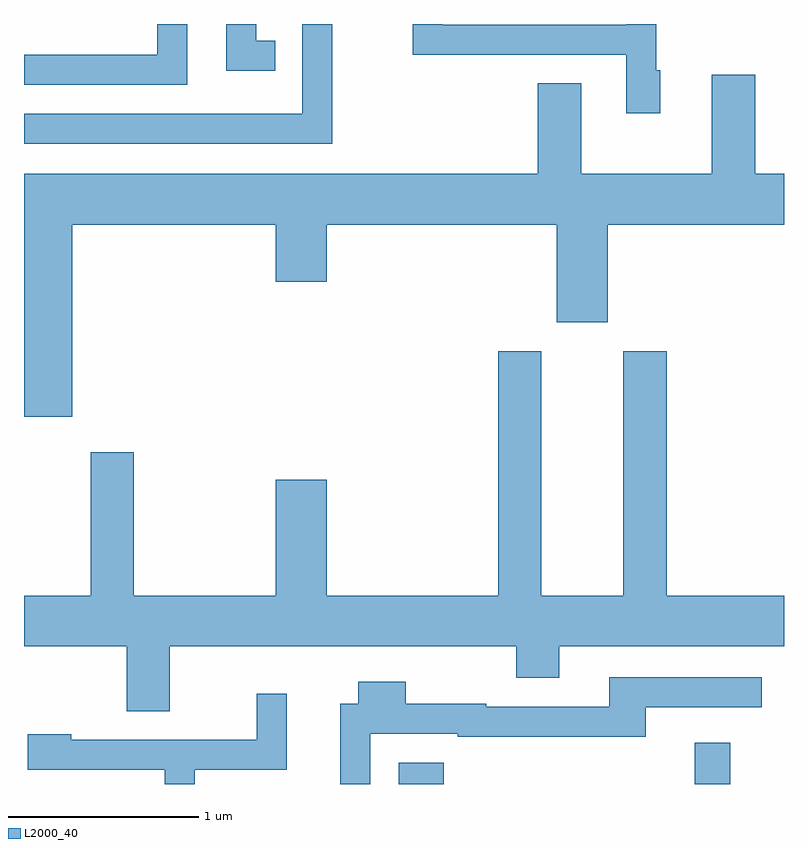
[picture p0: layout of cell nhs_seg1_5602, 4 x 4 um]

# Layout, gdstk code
import gdstk
lib = gdstk.Library(unit=1e-6, precision=1e-09)
def R(c, l, rs):  # rectangles x0, y0, x1, y1
    for r in rs: c.add(gdstk.rectangle(r[:2], r[2:], *l))
def P(c, l, *ps):  # polygons
    for p in ps: c.add(gdstk.Polygon(p, *l))
L2000_40 = (2000, 40)

nhs_seg1_5602 = lib.new_cell('nhs_seg1_5602')
R(nhs_seg1_5602, L2000_40, [(355.583,927.712,355.819,927.824), (357.141,927.712,357.329,927.929)])
P(nhs_seg1_5602, L2000_40, [(355.234,931.712),(355.076,931.712),(355.076,931.239),(353.611,931.239),(353.611,931.081),(355.234,931.081)],
  [(354.469,931.712),(354.311,931.712),(354.311,931.549),(353.611,931.549),(353.611,931.391),(354.469,931.391)],
  [(354.933,931.624),(354.834,931.624),(354.834,931.712),(354.676,931.712),(354.676,931.466),(354.933,931.466)],
  [(356.959,931.469),(356.939,931.469),(356.939,931.712),(356.781,931.712),(356.781,931.709),(355.814,931.709),(355.814,931.712),(355.656,931.712),(355.656,931.551),(356.781,931.551),(356.781,931.241),(356.959,931.241)],
  [(353.864,930.656),(354.936,930.656),(354.936,930.356),(355.204,930.356),(355.204,930.656),(356.416,930.656),(356.416,930.141),(356.684,930.141),(356.684,930.656),(357.611,930.656),(357.611,930.924),(357.459,930.924),(357.459,931.444),(357.231,931.444),(357.231,930.924),(356.544,930.924),(356.544,931.399),(356.316,931.399),(356.316,930.924),(353.611,930.924),(353.611,929.646),(353.864,929.646)],
  [(354.379,928.436),(356.201,928.436),(356.201,928.271),(356.429,928.271),(356.429,928.436),(357.611,928.436),(357.611,928.704),(356.994,928.704),(356.994,929.989),(356.766,929.989),(356.766,928.704),(356.334,928.704),(356.334,929.989),(356.106,929.989),(356.106,928.704),(355.204,928.704),(355.204,929.314),(354.936,929.314),(354.936,928.704),(354.189,928.704),(354.189,929.459),(353.961,929.459),(353.961,928.704),(353.611,928.704),(353.611,928.436),(354.151,928.436),(354.151,928.096),(354.379,928.096)],
  [(355.434,927.976),(355.895,927.976),(355.895,927.961),(356.884,927.961),(356.884,928.116),(357.493,928.116),(357.493,928.274),(356.691,928.274),(356.691,928.119),(356.045,928.119),(356.045,928.134),(355.619,928.134),(355.619,928.249),(355.371,928.249),(355.371,928.134),(355.276,928.134),(355.276,927.712),(355.434,927.712)],
  [(354.509,927.786),(354.994,927.786),(354.994,928.188),(354.836,928.188),(354.836,927.944),(353.859,927.944),(353.859,927.974),(353.631,927.974),(353.631,927.786),(354.351,927.786),(354.351,927.712),(354.509,927.712)])

lib.write_gds('nhs_seg1_5602.gds')
